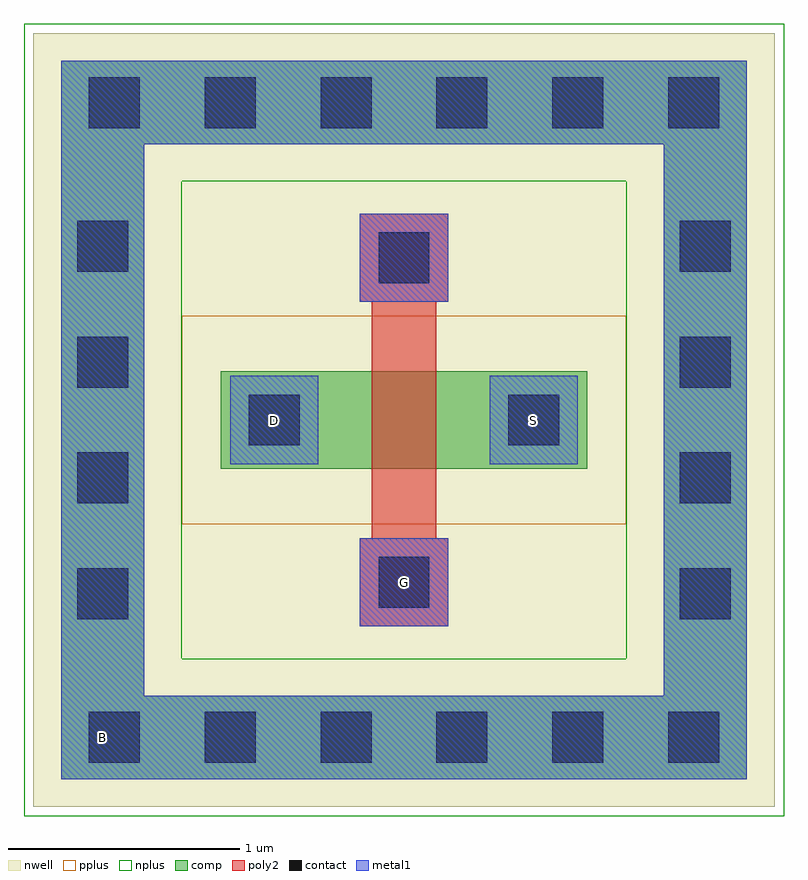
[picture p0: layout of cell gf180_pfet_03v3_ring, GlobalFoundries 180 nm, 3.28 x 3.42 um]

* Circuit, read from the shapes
.subckt gf180_pfet_03v3_ring B D G S
XM1 S G D B pfet_03v3 w=0.42u l=0.28u
.ends

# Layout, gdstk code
import gdstk
lib = gdstk.Library(unit=1e-6, precision=1e-09)
def R(c, l, rs):  # rectangles x0, y0, x1, y1
    for r in rs: c.add(gdstk.rectangle(r[:2], r[2:], *l))
def A(c, l, x, y, w, h, nx, ny, dx, dy):  # array of equal rectangles
    R(c, l, [(x+i*dx, y+j*dy, x+i*dx+w, y+j*dy+h) for i in range(nx) for j in range(ny)])
def P(c, l, *ps):  # polygons
    for p in ps: c.add(gdstk.Polygon(p, *l))
nwell = (21, 0)
comp = (22, 0)
poly2 = (30, 0)
pplus = (31, 0)
nplus = (32, 0)
contact = (33, 0)
metal1 = (34, 0)

pfet = lib.new_cell('pfet')
R(pfet, nwell, [(-1.07,-1.12,1.73,1.54)])
R(pfet, comp, [(-0.46,0,1.12,0.42)])
P(pfet, poly2, [(0.14,-0.68),(0.14,-0.3),(0.19,-0.3),(0.19,0.72),(0.14,0.72),(0.14,1.1),(0.52,1.1),(0.52,0.72),(0.47,0.72),(0.47,-0.3),(0.52,-0.3),(0.52,-0.68)])
R(pfet, pplus, [(-0.63,-0.24,1.29,0.66)])
R(pfet, contact, [(0.22,-0.6,0.44,-0.38), (-0.34,0.1,-0.12,0.32), (0.78,0.1,1,0.32), (0.22,0.8,0.44,1.02)])
R(pfet, metal1, [(0.14,-0.68,0.52,-0.3), (-0.42,0.02,-0.04,0.4), (0.7,0.02,1.08,0.4), (0.14,0.72,0.52,1.1)])

gf180_pfet_03v3_ring = lib.new_cell('gf180_pfet_03v3_ring')
R(gf180_pfet_03v3_ring, nwell, [(-1.27,-1.46,1.93,1.88)])
P(gf180_pfet_03v3_ring, comp, [(-1.15,-1.34),(-1.15,1.4),(-0.79,1.4),(-0.79,-0.98),(1.45,-0.98),(1.45,1.4),(-1.15,1.4),(-1.15,1.76),(1.81,1.76),(1.81,-1.34)])
P(gf180_pfet_03v3_ring, nplus, [(-1.31,-1.5),(-1.31,1.24),(-0.63,1.24),(-0.63,-0.82),(1.29,-0.82),(1.29,1.24),(-1.31,1.24),(-1.31,1.92),(1.97,1.92),(1.97,-1.5)])
A(gf180_pfet_03v3_ring, contact, -1.03, -1.27, 0.22, 0.22, 6, 2, 0.5, 2.74)
A(gf180_pfet_03v3_ring, contact, -1.08, -0.65, 0.22, 0.22, 1, 4, 0, 0.5)
A(gf180_pfet_03v3_ring, contact, 1.52, -0.65, 0.22, 0.22, 1, 4, 0, 0.5)
P(gf180_pfet_03v3_ring, metal1, [(-1.15,-1.34),(-1.15,1.4),(-0.79,1.4),(-0.79,-0.98),(1.45,-0.98),(1.45,1.4),(-1.15,1.4),(-1.15,1.76),(1.81,1.76),(1.81,-1.34)])
gf180_pfet_03v3_ring.add(gdstk.Reference(pfet, (0,0)))
gf180_pfet_03v3_ring.add(gdstk.Label('D', (-0.23,0.21), layer=34, texttype=10))
gf180_pfet_03v3_ring.add(gdstk.Label('S', (0.89,0.21), layer=34, texttype=10))
gf180_pfet_03v3_ring.add(gdstk.Label('G', (0.33,-0.49), layer=34, texttype=10))
gf180_pfet_03v3_ring.add(gdstk.Label('B', (-0.97,-1.16), layer=34, texttype=10))

lib.write_gds('gf180_pfet_03v3_ring.gds')
